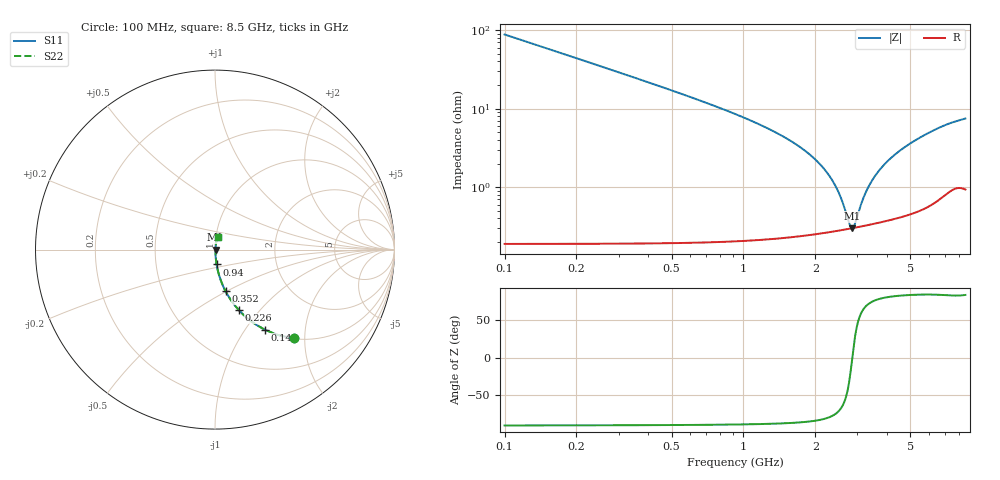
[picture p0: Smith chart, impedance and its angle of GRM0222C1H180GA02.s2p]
!Murata Part Number: GRM0222C1H180GA02
!These Parameters are Measured in Series Mode Connection
!Data Generated on Mar 30, 2021
!  o--ll--o
!Port1  Port2
!  o------o
!Operation Temp=25[degC], DC Bias Voltage=0[V]
!Freq. Start=100[MHz] Stop=9[GHz] 401[Steps]
# Hz S RI R 50
!Freq.(Hz) S11(Real) S11(Imag) S21(Real) S21(Imag) S12(Real) S12(Imag) S22(Real) S22(Imag)
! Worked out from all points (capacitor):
!   401 points, 100 MHz to 8.5 GHz, reference 50 ohm
!   read as one part in series: C = 18 pF near 142 MHz
!   lowest |Z| = 300 mohm at 2.851 GHz (marker M1)
!   series resonance near 2.857 GHz, so ESL is about 170 pH
!   S11 on the Smith chart (normalised r, x): 100 MHz: 1.00, -1.77; 142 MHz: 1.00, -1.24; 226 MHz: 1.00, -0.78; 352 MHz: 1.00, -0.49; 940 MHz: 1.00, -0.17; 8.5 GHz: 1.02, +0.15
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1e8  0.4383 -0.4951  0.5617 0.4951  0.5617 0.4951  0.4383 -0.4951
1.42e8  0.279 -0.447  0.721 0.447  0.721 0.447  0.279 -0.447
1.84e8  0.1873 -0.3882  0.8127 0.3882  0.8127 0.3882  0.1873 -0.3882
2.26e8  0.1325 -0.3366  0.8675 0.3366  0.8675 0.3366  0.1325 -0.3366
3.52e8  0.0592 -0.2322  0.9408 0.2322  0.9408 0.2322  0.0592 -0.2322
6.04e8  0.021 -0.1365  0.979 0.1365  0.979 0.1365  0.021 -0.1365
9.4e8  0.00896 -0.0828  0.991 0.0828  0.991 0.0828  0.00896 -0.0828
1.507e9  0.00402 -0.0419  0.996 0.0419  0.996 0.0419  0.00402 -0.0419
1.99e9  0.00301 -0.0226  0.997 0.0226  0.997 0.0226  0.00301 -0.0226
2.305e9  0.00285 -0.0132  0.9972 0.0132  0.9972 0.0132  0.00285 -0.0132
2.515e9  0.00285 -0.00779  0.9971 0.00779  0.9971 0.00779  0.00285 -0.00779
2.767e9  0.00294 -0.00195  0.9971 0.00195  0.9971 0.00195  0.00294 -0.00195
2.851e9  0.00299 -0.000127  0.997 0.000127  0.997 0.000127  0.00299 -0.000127
2.914e9  0.00303 0.0012  0.997 -0.0012  0.997 -0.0012  0.00303 0.0012
3.187e9  0.00324 0.00665  0.9968 -0.00665  0.9968 -0.00665  0.00324 0.00665
3.439e9  0.00348 0.0113  0.9965 -0.0113  0.9965 -0.0113  0.00348 0.0113
3.817e9  0.00391 0.0178  0.9961 -0.0178  0.9961 -0.0178  0.00391 0.0178
4.3e9  0.00457 0.0254  0.9954 -0.0254  0.9954 -0.0254  0.00457 0.0254
4.93e9  0.00562 0.0345  0.9944 -0.0345  0.9944 -0.0345  0.00562 0.0345
5.707e9  0.00729 0.045  0.9927 -0.045  0.9927 -0.045  0.00729 0.045
7.114e9  0.012 0.0613  0.988 -0.0613  0.988 -0.0613  0.012 0.0613
8.5e9  0.0146 0.0727  0.9854 -0.0727  0.9854 -0.0727  0.0146 0.0727
